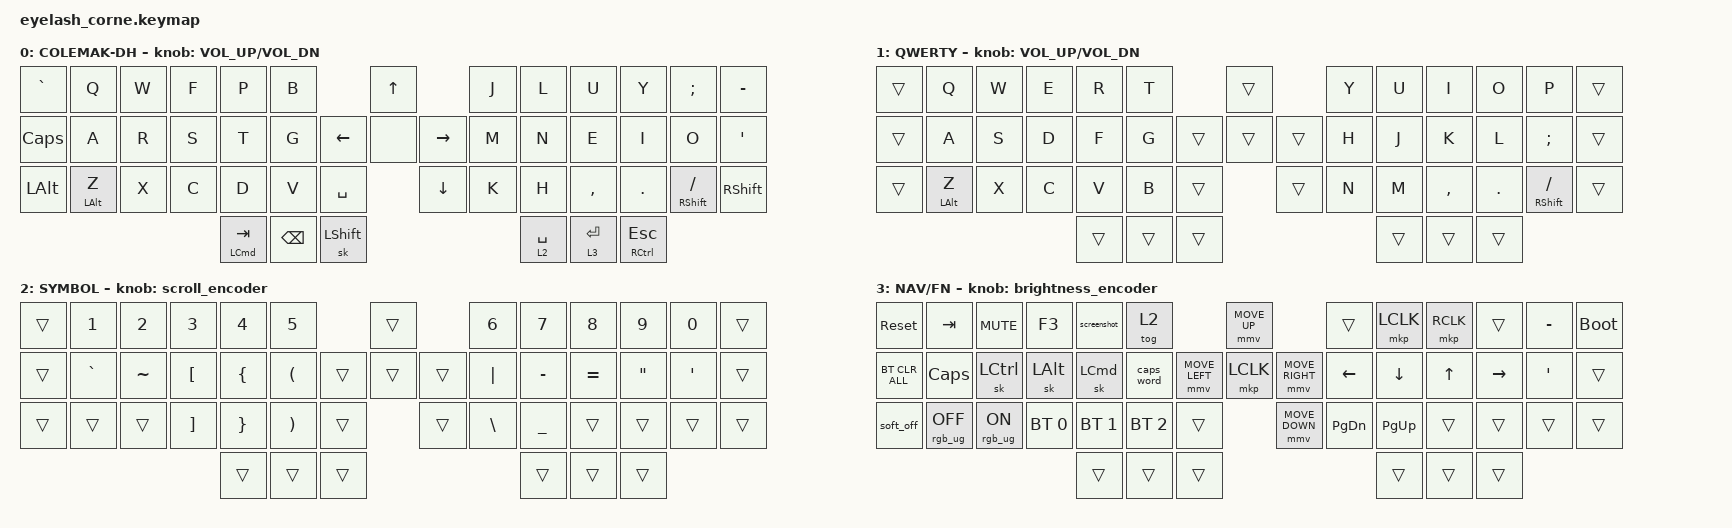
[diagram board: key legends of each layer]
#define ZMK_POINTING_DEFAULT_MOVE_VAL 1200  // 600
#define ZMK_POINTING_DEFAULT_SCRL_VAL 25   // 10

#include <input/processors.dtsi>
#include <zephyr/dt-bindings/input/input-event-codes.h>
#include <behaviors.dtsi>
#include <dt-bindings/zmk/bt.h>
#include <dt-bindings/zmk/keys.h>
#include <dt-bindings/zmk/modifiers.h>
#include <dt-bindings/zmk/pointing.h>
#include <dt-bindings/zmk/rgb.h>

&mmv_input_listener { input-processors = <&zip_xy_scaler 2 1>; };

&msc_input_listener { input-processors = <&zip_scroll_scaler 2 1>; };

&msc {
    acceleration-exponent = <1>;      // 0
    time-to-max-speed-ms = <100>;       // 300
    delay-ms = <0>;                   // 0
};

&mmv {
    time-to-max-speed-ms = <500>;
    acceleration-exponent = <1>;
    trigger-period-ms = <16>;
};

&soft_off { hold-time-ms = <2000>; };

&caps_word {
    continue-list = <UNDERSCORE MINUS BACKSPACE DELETE>;
};

&sk {
    quick-release;
};

/ {
    behaviors {
        ht: ht {
            compatible = "zmk,behavior-hold-tap";
            display-name = "Hold Tap";
            #binding-cells = <2>;
            flavor = "balanced";
            tapping-term-ms = <150>;
            require-prior-idle-ms = <125>;
            bindings = <&kp>, <&kp>;
        };

    };

    macros {
        screenshot: screenshot {
            compatible = "zmk,behavior-macro";
            #binding-cells = <0>;
            bindings = <&kp LG(LS(N4))>;
        };

    };

    rgb_encoder: rgb_encoder {
        compatible = "zmk,behavior-sensor-rotate";
        #sensor-binding-cells = <0>;
        bindings = <&rgb_ug RGB_BRI>, <&rgb_ug RGB_BRD>;
    };

    scroll_encoder: scroll_encoder {
        compatible = "zmk,behavior-sensor-rotate";
        #sensor-binding-cells = <0>;
        bindings = <&msc SCRL_DOWN>, <&msc SCRL_UP>;
        tap-ms = <100>;
    };

    brightness_encoder: brightness_encoder {
        compatible = "zmk,behavior-sensor-rotate";
        #sensor-binding-cells = <0>;
        bindings = <&kp C_BRI_UP>, <&kp C_BRI_DN>;
    };

    combos {
        compatible = "zmk,combos";

        softoff {
            bindings = <&soft_off>;
            key-positions = <1 15 29>;
        };

        to_qwerty {
            bindings = <&to 1>;
            key-positions = <44 45>;
            layers = <0>;
        };

        to_colemak {
            bindings = <&to 0>;
            key-positions = <44 45>;
            layers = <1>;
        };
    };

    keymap {
        compatible = "zmk,keymap";

        default_layer {
            display-name = "COLEMAK-DH";
            bindings = <
&kp GRAVE       &kp Q  &kp W  &kp F     &kp P     &kp B                            &kp UP               &kp J      &kp L        &kp U      &kp Y    &kp SEMI  &kp MINUS
&kp CAPS        &kp A          &kp R  &kp S     &kp T     &kp G                  &kp LEFT   &none    &kp RIGHT   &kp M      &kp N        &kp E      &kp I    &kp O     &kp SQT
&kp LALT  &ht LALT Z  &kp X  &kp C     &kp D     &kp V     &kp SPACE               &kp DOWN             &kp K      &kp H        &kp COMMA  &kp DOT  &ht RSHFT FSLH  &kp RSHFT
                              &ht LCMD TAB  &kp BSPC  &sk LSHFT                                           &lt 2 SPACE  &lt 3 ENTER  &ht RCTRL ESC
            >;

            sensor-bindings = <&inc_dec_kp C_VOLUME_UP C_VOL_DN>;
        };

        qwerty_layer {
            display-name = "QWERTY";
            bindings = <
&trans  &kp Q  &kp W  &kp E  &kp R  &kp T                       &trans                       &kp Y  &kp U  &kp I      &kp O    &kp P             &trans
&trans  &kp A  &kp S  &kp D  &kp F  &kp G             &trans  &trans  &trans             &kp H  &kp J  &kp K      &kp L    &kp SEMI          &trans
&trans  &ht LALT Z  &kp X  &kp C  &kp V  &kp B  &trans              &trans                       &kp N  &kp M  &kp COMMA  &kp DOT  &ht RSHFT FSLH  &trans
                              &trans  &trans  &trans                                           &trans  &trans  &trans
            >;

            sensor-bindings = <&inc_dec_kp C_VOLUME_UP C_VOL_DN>;
        };

        symbol_layer {
            display-name = "SYMBOL";
            bindings = <
&trans  &kp N1     &kp N2    &kp N3    &kp N4    &kp N5                        &trans                     &kp N6       &kp N7     &kp N8    &kp N9     &kp N0   &trans
&trans  &kp GRAVE  &kp TILDE &kp LBKT  &kp LBRC  &kp LPAR          &trans  &trans  &trans              &kp PIPE     &kp MINUS  &kp EQUAL &kp DQT    &kp SQT  &trans
&trans  &trans     &trans    &kp RBKT  &kp RBRC  &kp RPAR  &trans           &trans                     &kp BSLH     &kp UNDER  &trans     &trans     &trans   &trans
                                      &trans    &trans  &trans                                                    &trans     &trans     &trans
            >;

            sensor-bindings = <&scroll_encoder>;
        };

        function_layer {
            display-name = "NAV/FN";
            bindings = <
&sys_reset      &kp TAB       &kp C_MUTE      &kp F3         &screenshot       &tog 2                                 &mmv MOVE_UP                     &trans       &mkp LCLK  &mkp RCLK  &trans     &kp MINUS  &bootloader
&bt BT_CLR_ALL  &kp CAPS      &sk LCTRL       &sk LALT       &sk LCMD          &caps_word              &mmv MOVE_LEFT  &mkp LCLK  &mmv MOVE_RIGHT  &kp LEFT     &kp DOWN    &kp UP     &kp RIGHT  &kp SQT    &trans
&soft_off       &rgb_ug RGB_OFF  &rgb_ug RGB_ON  &bt BT_SEL 0  &bt BT_SEL 1  &bt BT_SEL 2  &trans                  &mmv MOVE_DOWN                   &kp PG_DN    &kp PG_UP   &trans     &trans     &trans     &trans
                                                &trans          &trans          &trans                                                        &trans       &trans      &trans
            >;

            sensor-bindings = <&brightness_encoder>;
        };
    };
};
